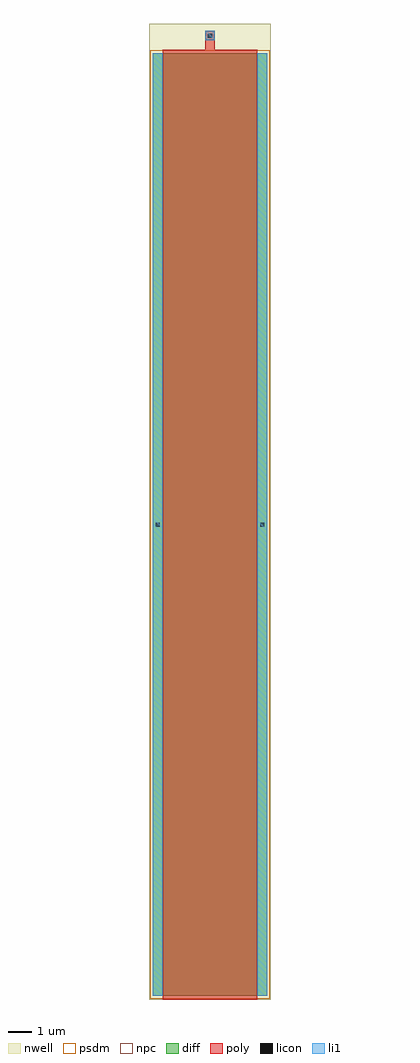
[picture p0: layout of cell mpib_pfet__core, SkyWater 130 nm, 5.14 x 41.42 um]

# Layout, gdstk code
import gdstk
lib = gdstk.Library(unit=1e-6, precision=1e-09)
def R(c, l, rs):  # rectangles x0, y0, x1, y1
    for r in rs: c.add(gdstk.rectangle(r[:2], r[2:], *l))
nwell = (64, 20)
diff = (65, 20)
poly = (66, 20)
licon = (66, 44)
li1 = (67, 20)
psdm = (94, 20)
npc = (95, 20)

mpib_pfet__core = lib.new_cell('mpib_pfet__core')
R(mpib_pfet__core, nwell, [(-0.15,-0.15,4.99,41.27)])
R(mpib_pfet__core, diff, [(0,0,4.84,40)])
R(mpib_pfet__core, poly, [(0.42,-0.15,4.42,40), (0.42,40,4.42,40.15), (0.42,40,4.42,40.15), (2.21,40.15,2.63,40.97)])
R(mpib_pfet__core, licon, [(0.125,19.915,0.295,20.085), (4.545,19.915,4.715,20.085), (2.335,40.675,2.505,40.845)])
R(mpib_pfet__core, li1, [(0,0,0.42,40), (4.42,0,4.84,40), (2.21,40.55,2.63,40.97)])
R(mpib_pfet__core, psdm, [(-0.125,-0.125,4.965,40.125)])
R(mpib_pfet__core, npc, [(2.235,40.575,2.605,40.945)])

lib.write_gds('mpib_pfet__core.gds')
